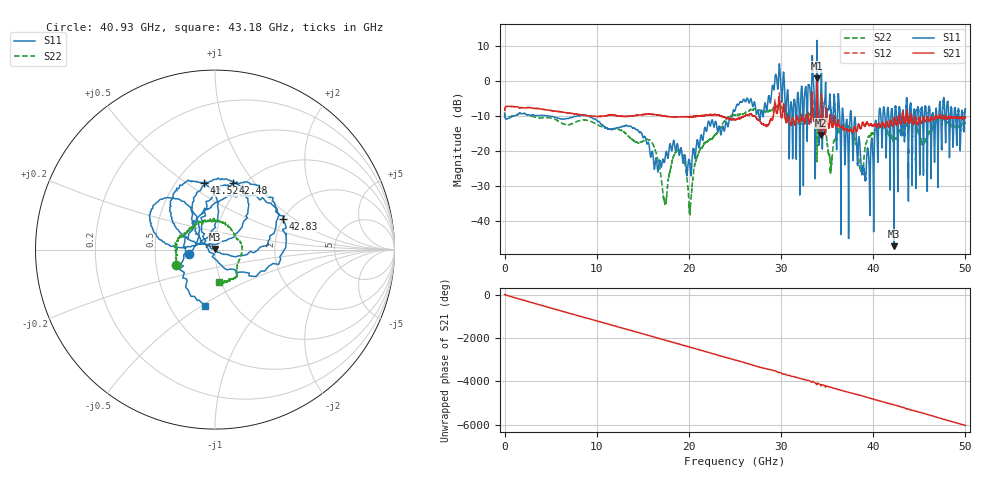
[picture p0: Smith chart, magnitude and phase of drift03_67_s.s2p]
!Created with skrf (http://scikit-rf.org).
# Hz S RI R 50.0
!freq ReS11 ImS11 ReS21 ImS21 ReS12 ImS12 ReS22 ImS22
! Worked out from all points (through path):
!   10001 points, 300 kHz to 50 GHz, reference 50 ohm
!   highest |S21| = 0.76 dB at 33.9 GHz (marker M1); lowest = -15.5 dB at 34.32 GHz (marker M2)
!   group delay of S21, straight-line fit = 335 ps
!   lowest |S11| = -47.3 dB at 42.24 GHz (marker M3), VSWR 1.01, Z = 49.8 + j0.348 ohm
!   |S11| at or under -10 dB: 4.468 GHz to 8.195 GHz (3.727 GHz wide, 58.9 % of centre); 9.009 GHz to 24.7 GHz (15.69 GHz wide, 93.1 % of centre); 37.62 GHz to 40.62 GHz (2.999 GHz wide, 7.67 % of centre) (the widest 3 of 54)
!   |S22| runs from -38.4 to -5.9 dB; largest |S21 - S12| = 0.11
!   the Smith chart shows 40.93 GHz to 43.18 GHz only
!   S11 on the Smith chart (normalised r, x): 40.93 GHz: 0.75, -0.04; 41.52 GHz: 0.68, +0.59; 42.48 GHz: 0.91, +0.78; 42.83 GHz: 1.98, +0.83; 43.18 GHz: 0.74, -0.52
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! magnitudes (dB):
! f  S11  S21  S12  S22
! 300 kHz  -9.3  -8.5  -8.5  -9.3
! 8.335 GHz  -9.9  -9.8  -9.8  -11.3
! 16.67 GHz  -25.5  -9.8  -9.8  -23.1
! 17.4 GHz  -22.4  -10.1  -10.1  -35.3
! 19.08 GHz  -19.7  -10.3  -10.3  -20.1
! 20.13 GHz  -24.6  -10.3  -10.3  -37.0
! 21.19 GHz  -17.9  -10.1  -10.1  -19.7
! 25 GHz  -8.6  -11.1  -11.1  -9.8
! 33.34 GHz  0.6  -7.4  -7.4  -9.4
! 33.9 GHz  11.5  0.8  0.4  -23.2
! 34.32 GHz  -2.9  -15.5  -14.9  -11.2
! 35.33 GHz  -5.9  -10.3  -9.8  -25.1
! 37.02 GHz  -14.6  -13.8  -14.0  -13.9
! 38.97 GHz  -25.4  -12.5  -12.5  -23.2
! 40.93 GHz  -16.7  -12.5  -12.5  -12.7
! 41.52 GHz  -8.5  -12.1  -12.2  -14.8
! 41.67 GHz  -9.4  -13.3  -13.2  -14.9
! 42.24 GHz  -47.3  -11.4  -11.4  -17.3
! 42.48 GHz  -8.3  -12.4  -12.5  -16.5
! 42.83 GHz  -7.6  -11.2  -11.2  -14.5
! 43.18 GHz  -10.0  -9.4  -9.4  -14.8
! 50 GHz  -8.0  -10.5  -10.6  -12.2
